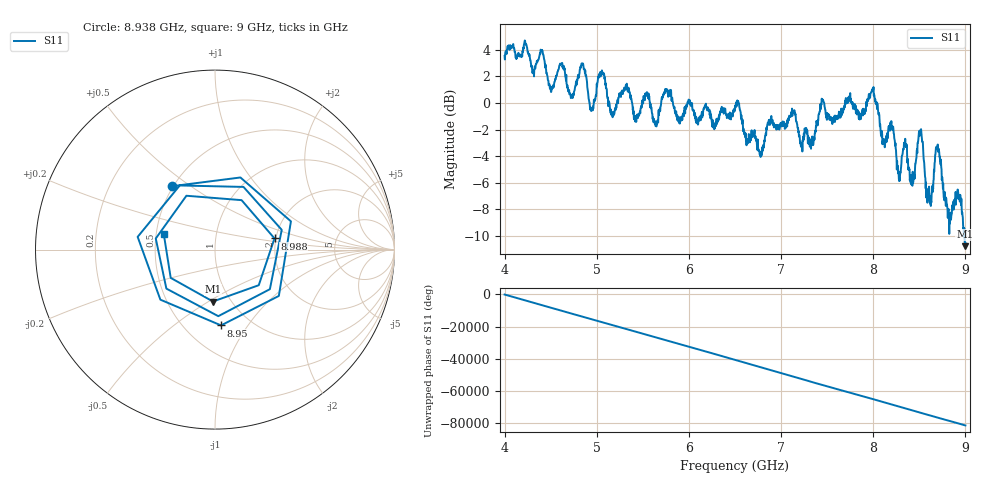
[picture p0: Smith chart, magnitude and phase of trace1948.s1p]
! Created with skrf 1.8.0 (http://scikit-rf.org).
# Hz S RI R 50.0
!freq ReS11 ImS11
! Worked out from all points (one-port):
!   1601 points, 4 GHz to 9 GHz, reference 50 ohm
!   lowest |S11| = -10.8 dB at 8.994 GHz (marker M1), VSWR 1.81, Z = 41.4 - j26.1 ohm
!   |S11| at or under -10 dB: 8.983602 GHz to 8.98458 GHz (978.8 kHz wide, 0.0109 % of centre); 8.990743 GHz to end of sweep
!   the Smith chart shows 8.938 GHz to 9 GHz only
!   S11 on the Smith chart (normalised r, x): 8.938 GHz: 0.49, +0.43; 8.95 GHz: 0.74, -0.76; 8.988 GHz: 1.97, +0.28; 9 GHz: 0.55, +0.10
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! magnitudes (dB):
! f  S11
! 4 GHz  3.5
! 4.625 GHz  3.0
! 4.728 GHz  0.6
! 4.85 GHz  3.0
! 4.941 GHz  -0.5
! 5.047 GHz  2.2
! 5.166 GHz  -0.8
! 5.25 GHz  0.6
! 5.875 GHz  -1.2
! 6.5 GHz  -0.2
! 6.778 GHz  -4.1
! 7.125 GHz  -0.6
! 7.325 GHz  -3.4
! 7.444 GHz  0.2
! 7.75 GHz  0.7
! 7.994 GHz  1.1
! 8.278 GHz  -5.7
! 8.375 GHz  -4.2
! 8.428 GHz  -5.2
! 8.512 GHz  -2.4
! 8.606 GHz  -6.3
! 8.697 GHz  -3.2
! 8.822 GHz  -9.1
! 8.938 GHz  -7.4
! 8.95 GHz  -7.5
! 8.988 GHz  -9.4
! 8.994 GHz  -10.8
! 9 GHz  -10.5
